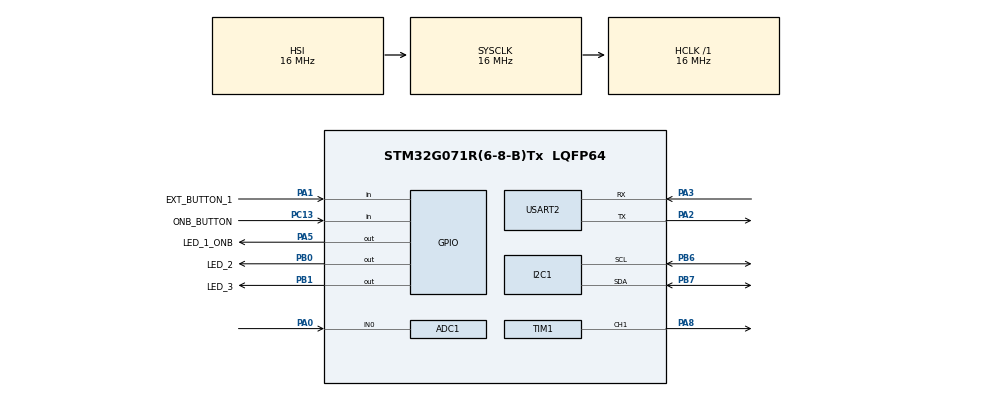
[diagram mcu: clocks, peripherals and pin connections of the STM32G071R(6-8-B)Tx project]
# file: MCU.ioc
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ADC1.Channel-0\#ChannelRegularConversion=ADC_CHANNEL_0
ADC1.NbrOfConversionFlag=1
ADC1.Rank-0\#ChannelRegularConversion=1
ADC1.SamplingTime-0\#ChannelRegularConversion=ADC_SAMPLINGTIME_COMMON_1
ADC1.SelectedChannel=ADC_CHANNEL_0
ADC1.master=1
I2C1.Timing=0x00503D58
Mcu.Family=STM32G0
Mcu.Name=STM32G071R(6-8-B)Tx
Mcu.Package=LQFP64
PA0.Mode=IN0
PA0.Signal=ADC1_IN0
PA1.GPIO_Label=EXT_BUTTON_1
PA1.GPIO_PuPd=GPIO_PULLDOWN
PA1.Signal=GPIO_Input
PA2.Mode=Asynchronous
PA2.Signal=USART2_TX
PA3.Mode=Asynchronous
PA3.Signal=USART2_RX
PA5.GPIO_Label=LED_1_ONB
PA5.Signal=GPIO_Output
PA8.Signal=S_TIM1_CH1
PB0.GPIO_Label=LED_2
PB0.Signal=GPIO_Output
PB1.GPIO_Label=LED_3
PB1.Signal=GPIO_Output
PB6.Mode=I2C
PB6.Signal=I2C1_SCL
PB7.Mode=I2C
PB7.Signal=I2C1_SDA
PC13.GPIO_Label=ONB_BUTTON
PC13.GPIO_PuPd=GPIO_PULLUP
PC13.Signal=GPIO_Input
ProjectManager.HeapSize=0x200
ProjectManager.StackSize=0x400
ProjectManager.TargetToolchain=STM32CubeIDE
RCC.AHBFreq_Value=16000000
RCC.CortexFreq_Value=16000000
RCC.EXTERNAL_CLOCK_VALUE=48000
RCC.HCLKFreq_Value=16000000
RCC.HSE_VALUE=8000000
RCC.HSI_VALUE=16000000
RCC.LSE_VALUE=32768
RCC.PLLQ=RCC_PLLQ_DIV4
RCC.SYSCLKFreq_VALUE=16000000
RCC.VCOOutputFreq_Value=128000000
SH.S_TIM1_CH1.0=TIM1_CH1,PWM Generation1 CH1
TIM1.Channel-PWM\ Generation1\ CH1=TIM_CHANNEL_1
USART2.VirtualMode-Asynchronous=VM_ASYNC
board=custom

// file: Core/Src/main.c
/* USER CODE BEGIN Header */
/**
  ******************************************************************************
  * @file           : main.c
  * @brief          : Main program body
  ******************************************************************************
  * @attention
  *
  * Copyright (c) 2025 STMicroelectronics.
  * All rights reserved.
  *
  * This software is licensed under terms that can be found in the LICENSE file
  * in the root directory of this software component.
  * If no LICENSE file comes with this software, it is provided AS-IS.
  *
  ******************************************************************************
  */
/* USER CODE END Header */
#include "main.h"

/* USER CODE BEGIN Includes */
#include "stdio.h" //used for printing to lcd
#include "string.h" //for working with strings
#include "i2c_lcd.h" //my lcd control library
/* USER CODE END Includes */

ADC_HandleTypeDef hadc1;

I2C_HandleTypeDef hi2c1;

TIM_HandleTypeDef htim1;

UART_HandleTypeDef huart2;

/* USER CODE BEGIN PV */
I2C_LCD_HandleTypeDef lcd1; 		//bring in LCD handler
/* USER CODE END PV */

void SystemClock_Config(void);
static void MX_GPIO_Init(void);
static void MX_ADC1_Init(void);
static void MX_I2C1_Init(void);
static void MX_USART2_UART_Init(void);
static void MX_TIM1_Init(void);

/* USER CODE BEGIN 0 */

//=====STATE DEFINITIONS=====
typedef enum {
	STATE_A,
	STATE_B,
	STATE_C
} SystemState_t;

SystemState_t currentState = STATE_A;

//=====PIN DEFINITIONS===== (for hardware clarity/file sharing)
#define ADC_PORT GPIOA
#define ADC_PIN GPIO_PIN_0				//PA0
#define EXT_BUTTON_1_PORT GPIOA
#define EXT_BUTTON_1_PIN GPIO_PIN_1 	//PA1
#define ONB_BUTTON_PORT GPIOC
#define ONB_BUTTON_PIN GPIO_PIN_13		//PC13
#define LED_1_PORT GPIOA				//on-board LED
#define LED_1_PIN GPIO_PIN_5			//PA5
#define LED_2_PORT GPIOB
#define LED_2_PIN GPIO_PIN_0			//PB0
#define LED_3_PORT GPIOB
#define LED_3_PIN GPIO_PIN_1			//PB1
#define SERVO_TIM_CHANNEL TIM_CHANNEL_1
#define SERVO_TIM_HANDLE htim1
#define SERVO_PORT GPIOA
#define SERVO_PIN GPIO_PIN_8			//PA8
#define UART_TX_PORT GPIOA
#define UART_TX_PIN GPIO_PIN_2			//PA2
#define UART_RX_PORT GPIOA
#define UART_RX_PIN GPIO_PIN_3			//PA3
#define I2C_SDA_PORT GPIOB
#define I2C_SDA_PIN GPIO_PIN_7			//PB7
#define I2C_SCL_PORT GPIOB
#define I2C_SCL_PIN GPIO_PIN_6			//PB6

//=====UART DEFINITIONS=====
char uart_message[100]; 				//storage of messages
uint8_t transmit_uart = 1; 				//flag for UART transmission
uint32_t last_uart_transmit_time = 0; 	//last transmitted UART message
#define UART_TRANSMIT_INTERVAL 500

//=====ADC DEFINITIONS=====
uint32_t adc_value = 0; 				//storage of adc value

//=====LED DEFINITIONS=====
uint8_t led_select = 0; 				//switching between external LED 2 or 3
uint32_t led1_blink_period = 500; 		//flashing period for on-board led

//=====DEBOUNCE DEFINITIONS=====
uint32_t last_button1_press_time = 0;	//timer for button 1 presses
uint32_t last_button2_press_time = 0;	//timer for button 2 presses
uint8_t button1_pressed = 0;
uint8_t button2_pressed = 0;
#define DEBOUNCE_DELAY 100				//delay for debouncing

//=====STUDENT ID=====
char student_id[9] = "24784821";		//defined student id

/* //=====BUTTON DEBOUNCE FUNCTION=====
uint8_t debounceButton(GPIO_TypeDef *port, uint16_t pin, uint32_t *last_press_time, uint8_t active_high) { //will take port and pin information when i call the function in the loop
    uint8_t current_state = HAL_GPIO_ReadPin(port, pin); //store button state
    uint32_t current_time = HAL_GetTick();//store current time in ms
    uint8_t debounced_state = 0;

    // Determine if the current state matches the active state
    uint8_t is_active = (active_high && (current_state == GPIO_PIN_SET)) || (!active_high && (current_state == GPIO_PIN_RESET)); //depending on pull up or down (will cover both)

    if (is_active) { //button currently in the active state
        if (current_time - *last_press_time >= DEBOUNCE_DELAY) {
            HAL_Delay(DEBOUNCE_DELAY); //confirmation delay (may not need)
            if (is_active) {
                *last_press_time = current_time;		//update last pressed time
                debounced_state = 1; // Return 1 for a debounced active press
            }
        }
    }

    return debounced_state;
}
*/
//=====MAP FUNCTION=====		// Calculates input range, calculates output range, then uses linear interpolation formula - taken from arduino source code
int map(int x, int in_min, int in_max, int out_min, int out_max) {
    return (x - in_min) * (out_max - out_min) / (in_max - in_min) + out_min;
}

//=====LCD PRINT INT FUNCTION=====
void lcd_print_int(int num){
	char holdme[16]; //storing string version of integer
	sprintf(holdme, "%d", num); //conversion of integer to string
	lcd_puts(&lcd1, holdme);			//send to LCD
}

//=====SET SERVO PULSE FUNCTION=====
void setServoPulse(uint16_t pulse) {
	TIM_OC_InitTypeDef sConfigOC = {0};
	sConfigOC.OCMode = TIM_OCMODE_PWM1;
	sConfigOC.Pulse = pulse;
	sConfigOC.OCPolarity = TIM_OCPOLARITY_HIGH;
	sConfigOC.OCFastMode = TIM_OCFAST_DISABLE;

	 HAL_TIM_PWM_ConfigChannel(&SERVO_TIM_HANDLE, &sConfigOC, SERVO_TIM_CHANNEL);
	 HAL_TIM_PWM_Start(&SERVO_TIM_HANDLE, SERVO_TIM_CHANNEL);
}

//=====STATE A ACTIONS=====
void stateA_actions(void) {

	//LCD CONTROL
	lcd_clear(&lcd1);							//clear lcd screen
	lcd_gotoxy(&lcd1, 0, 0);					//position cursor in top left
	lcd_puts(&lcd1, "SID:");					//print 'SID'
	lcd_puts(&lcd1, student_id);				//print my student ID number
	lcd_gotoxy(&lcd1, 0, 1);					//position cursor to second line
	lcd_puts(&lcd1, "MECHATRONICS 1");			//print string to second line

	//UART CONTROL
	static uint32_t last_uart_transmit = 0; //timer starts from 0
	if (transmit_uart && (HAL_GetTick() - last_uart_transmit >= UART_TRANSMIT_INTERVAL)){ //if there is a transmission flag and the time interval for transmissions has passed, then
		sprintf(uart_message, "Autumn2025 MX1 SID: %s, ADC Reading: %lu", student_id, adc_value); //print message to monitor, inserting student_id and adc_value into the string
		HAL_UART_Transmit(&huart2, (uint8_t *)uart_message, strlen(uart_message), HAL_MAX_DELAY); //using STM32HAL functions to transmit UART. Converts uart_message into an integer that can be transmitted over UART.
		last_uart_transmit = HAL_GetTick(); //update last transmit time
	}

	//UART KEYBOARD TOGGLE
	uint8_t received_char;												//variable to store character received
	if (HAL_UART_Receive(&huart2, &received_char, 1, 0) == HAL_OK) {	//if statement checks if the UART successfully received a character
		if (received_char == 's') {										//if it is successful, and the character matches, then toggle the UART transmissions
			transmit_uart = !transmit_uart;
		}
	}

}

//=====STATE B ACTIONS=====
void stateB_actions(void) {
	//LCD CONTROL FOR ADC VALUES
	lcd_clear(&lcd1);					//clear lcd
	lcd_gotoxy(&lcd1, 0, 0);			//position cursor top left
	lcd_puts(&lcd1, "ADC:");				//print ADC
	lcd_print_int(adc_value);		//print the ADC value as an integer
	lcd_puts(&lcd1, " STATE B");
	lcd_gotoxy(&lcd1, 0, 1);			//next line
	lcd_puts(&lcd1, "MECHATRONICS 1");

	//UART CONTROL
	transmit_uart = 0; 				//disable UART communication

	//ONBOARD LED CONTROL WITH POT
	static uint32_t last_led1_blink = 0; //period since last blink
	uint32_t led1_blink_period;			 //storage for variable blink timing
	static uint8_t led1_state = 0;				 //state of LED (off or on)

	led1_blink_period = map(adc_value, 0, 4095, 200, 1000); //linear interpolation of ADC values to led blink period, 5Hz -> 1Hz

	if (HAL_GetTick() - last_led1_blink >= led1_blink_period) { //checks if enough time has passed between blinks
		led1_state = !led1_state; 								//toggle LED
		HAL_GPIO_WritePin(LED_1_PORT, LED_1_PIN, led1_state ? GPIO_PIN_SET : GPIO_PIN_RESET); //Control of actual LED output. Takes port and pin info from definitions above
		last_led1_blink = HAL_GetTick(); //update blink time
	}

	//EXTERNAL LED CONTROL
	static uint32_t last_led2_3_blink = 0; //variable to control timing for both LEDs
	static uint8_t led2_state = 0;				   //state of LED2 (on or off)
	static uint8_t led3_state = 0;				   //state of LED3 (on or off)

	if (button1_pressed) { 			//checks for valid debounced button press
		led_select = !led_select;	//toggle between LEDs when button 1 pressed
	}

	if (HAL_GetTick() - last_led2_3_blink >= 500) { //1Hz blinking 500on 500off
        last_led2_3_blink = HAL_GetTick(); 			//update blink time
        if (led_select == 0) {						//checks which LED is selected and toggles state
        	led2_state = !led2_state;
        	HAL_GPIO_WritePin(LED_2_PORT, LED_2_PIN, led2_state ? GPIO_PIN_SET : GPIO_PIN_RESET); //actual output of LED2, will toggle either off or on
        } else {
        	led3_state = !led3_state;
        	HAL_GPIO_WritePin(LED_3_PORT, LED_3_PIN, led3_state ? GPIO_PIN_SET : GPIO_PIN_RESET); //same thing for LED3
        }
	}

	//SERVO CONTROL FROM POT
	uint16_t servo_pulse_width = map(adc_value, 0, 4095, 1000, 2000); //map adc values to servo PWM
	setServoPulse(servo_pulse_width); //write to the servo

}
//=====STATE C ACTIONS=====
void stateC_actions(void) {

	//check everything disabled
	transmit_uart = 0;

}

/* USER CODE END 0 */

int main(void)
{

  /* MCU Configuration--------------------------------------------------------*/

  /* Reset of all peripherals, Initializes the Flash interface and the Systick. */
  HAL_Init();

  /* Configure the system clock */
  SystemClock_Config();

  /* Initialize all configured peripherals */
  MX_GPIO_Init();
  MX_ADC1_Init();
  MX_I2C1_Init();
  MX_USART2_UART_Init();
  MX_TIM1_Init();
  /* USER CODE BEGIN 2 */

  HAL_ADC_Start(&hadc1);					//begin adc conversion

  lcd1.hi2c = &hi2c1;
  lcd1.address = 0x4E; //lcd address

  lcd_init(&lcd1); //initialise LCD

  /* USER CODE END 2 */

  /* Infinite loop */
  /* USER CODE BEGIN WHILE */
  while (1)
	  {
	  	 /* uint8_t button2_pressed = debounceButton(EXT_BUTTON_1_PORT, EXT_BUTTON_1_PIN, &last_button2_press_time, 1);
	  	  uint8_t button1_pressed = debounceButton(ONB_BUTTON_PORT, ONB_BUTTON_PIN, &last_button1_press_time, 1);
	  	  HAL_Delay (5);
	  	 */
		  // ===== Direct Button Read with Active High Interpretation =====
		  uint8_t button1_pressed = !HAL_GPIO_ReadPin(ONB_BUTTON_PORT, ONB_BUTTON_PIN);
		  uint8_t button2_pressed = HAL_GPIO_ReadPin(EXT_BUTTON_1_PORT, EXT_BUTTON_1_PIN);

		  // ===== ADC Control (Keep this) =====
		  if (HAL_ADC_GetState(&hadc1) == HAL_ADC_STATE_REG_EOC) {
			  adc_value = HAL_ADC_GetValue(&hadc1);
			  HAL_ADC_Start(&hadc1);
		  }

		  // ===== Updating State =====
		  SystemState_t previousState = currentState; // Store the previous state

		  if (button2_pressed) {
			  if (currentState == STATE_A || currentState == STATE_C){
				  currentState = STATE_B;
			  }	else if (currentState == STATE_B) {
				  currentState = STATE_A;
			  }
		  }

		  if (currentState == STATE_A && button1_pressed) {
			  currentState = STATE_C;
		  }

		  // ===== FUNCTION CONTROL DEPENDING ON STATE (Update LCD only on state change) =====
		  if (currentState != previousState) {
			  switch (currentState) {
				  case STATE_A:
					  stateA_actions();
					  break;
				  case STATE_B:
					  stateB_actions();
					  break;
				  case STATE_C:
					  stateC_actions();
					  break;
			  }
		  }

		  HAL_Delay(10); // stability
	  }

    /* USER CODE END WHILE */

  	  }

void SystemClock_Config(void)
{
  RCC_OscInitTypeDef RCC_OscInitStruct = {0};
  RCC_ClkInitTypeDef RCC_ClkInitStruct = {0};

  /** Configure the main internal regulator output voltage
  */
  HAL_PWREx_ControlVoltageScaling(PWR_REGULATOR_VOLTAGE_SCALE1);

  /** Initializes the RCC Oscillators according to the specified parameters
  * in the RCC_OscInitTypeDef structure.
  */
  RCC_OscInitStruct.OscillatorType = RCC_OSCILLATORTYPE_HSI;
  RCC_OscInitStruct.HSIState = RCC_HSI_ON;
  RCC_OscInitStruct.HSIDiv = RCC_HSI_DIV1;
  RCC_OscInitStruct.HSICalibrationValue = RCC_HSICALIBRATION_DEFAULT;
  RCC_OscInitStruct.PLL.PLLState = RCC_PLL_NONE;
  if (HAL_RCC_OscConfig(&RCC_OscInitStruct) != HAL_OK)
  {
    Error_Handler();
  }

  /** Initializes the CPU, AHB and APB buses clocks
  */
  RCC_ClkInitStruct.ClockType = RCC_CLOCKTYPE_HCLK|RCC_CLOCKTYPE_SYSCLK
                              |RCC_CLOCKTYPE_PCLK1;
  RCC_ClkInitStruct.SYSCLKSource = RCC_SYSCLKSOURCE_HSI;
  RCC_ClkInitStruct.AHBCLKDivider = RCC_SYSCLK_DIV1;
  RCC_ClkInitStruct.APB1CLKDivider = RCC_HCLK_DIV1;

  if (HAL_RCC_ClockConfig(&RCC_ClkInitStruct, FLASH_LATENCY_0) != HAL_OK)
  {
    Error_Handler();
  }
}

static void MX_ADC1_Init(void)
{

  ADC_ChannelConfTypeDef sConfig = {0};

  /** Configure the global features of the ADC (Clock, Resolution, Data Alignment and number of conversion)
  */
  hadc1.Instance = ADC1;
  hadc1.Init.ClockPrescaler = ADC_CLOCK_SYNC_PCLK_DIV2;
  hadc1.Init.Resolution = ADC_RESOLUTION_12B;
  hadc1.Init.DataAlign = ADC_DATAALIGN_RIGHT;
  hadc1.Init.ScanConvMode = ADC_SCAN_DISABLE;
  hadc1.Init.EOCSelection = ADC_EOC_SINGLE_CONV;
  hadc1.Init.LowPowerAutoWait = DISABLE;
  hadc1.Init.LowPowerAutoPowerOff = DISABLE;
  hadc1.Init.ContinuousConvMode = DISABLE;
  hadc1.Init.NbrOfConversion = 1;
  hadc1.Init.DiscontinuousConvMode = DISABLE;
  hadc1.Init.ExternalTrigConv = ADC_SOFTWARE_START;
  hadc1.Init.ExternalTrigConvEdge = ADC_EXTERNALTRIGCONVEDGE_NONE;
  hadc1.Init.DMAContinuousRequests = DISABLE;
  hadc1.Init.Overrun = ADC_OVR_DATA_PRESERVED;
  hadc1.Init.SamplingTimeCommon1 = ADC_SAMPLETIME_1CYCLE_5;
  hadc1.Init.SamplingTimeCommon2 = ADC_SAMPLETIME_1CYCLE_5;
  hadc1.Init.OversamplingMode = DISABLE;
  hadc1.Init.TriggerFrequencyMode = ADC_TRIGGER_FREQ_HIGH;
  if (HAL_ADC_Init(&hadc1) != HAL_OK)
  {
    Error_Handler();
  }

  /** Configure Regular Channel
  */
  sConfig.Channel = ADC_CHANNEL_0;
  sConfig.Rank = ADC_REGULAR_RANK_1;
  sConfig.SamplingTime = ADC_SAMPLINGTIME_COMMON_1;
  if (HAL_ADC_ConfigChannel(&hadc1, &sConfig) != HAL_OK)
  {
    Error_Handler();
  }

}

static void MX_I2C1_Init(void)
{

  hi2c1.Instance = I2C1;
  hi2c1.Init.Timing = 0x00503D58;
  hi2c1.Init.OwnAddress1 = 0;
  hi2c1.Init.AddressingMode = I2C_ADDRESSINGMODE_7BIT;
  hi2c1.Init.DualAddressMode = I2C_DUALADDRESS_DISABLE;
  hi2c1.Init.OwnAddress2 = 0;
  hi2c1.Init.OwnAddress2Masks = I2C_OA2_NOMASK;
  hi2c1.Init.GeneralCallMode = I2C_GENERALCALL_DISABLE;
  hi2c1.Init.NoStretchMode = I2C_NOSTRETCH_DISABLE;
  if (HAL_I2C_Init(&hi2c1) != HAL_OK)
  {
    Error_Handler();
  }

  /** Configure Analogue filter
  */
  if (HAL_I2CEx_ConfigAnalogFilter(&hi2c1, I2C_ANALOGFILTER_ENABLE) != HAL_OK)
  {
    Error_Handler();
  }

  /** Configure Digital filter
  */
  if (HAL_I2CEx_ConfigDigitalFilter(&hi2c1, 0) != HAL_OK)
  {
    Error_Handler();
  }

}

static void MX_TIM1_Init(void)
{

  TIM_MasterConfigTypeDef sMasterConfig = {0};
  TIM_OC_InitTypeDef sConfigOC = {0};
  TIM_BreakDeadTimeConfigTypeDef sBreakDeadTimeConfig = {0};

  htim1.Instance = TIM1;
  htim1.Init.Prescaler = 0;
  htim1.Init.CounterMode = TIM_COUNTERMODE_UP;
  htim1.Init.Period = 65535;
  htim1.Init.ClockDivision = TIM_CLOCKDIVISION_DIV1;
  htim1.Init.RepetitionCounter = 0;
  htim1.Init.AutoReloadPreload = TIM_AUTORELOAD_PRELOAD_DISABLE;
  if (HAL_TIM_PWM_Init(&htim1) != HAL_OK)
  {
    Error_Handler();
  }
  sMasterConfig.MasterOutputTrigger = TIM_TRGO_RESET;
  sMasterConfig.MasterOutputTrigger2 = TIM_TRGO2_RESET;
  sMasterConfig.MasterSlaveMode = TIM_MASTERSLAVEMODE_DISABLE;
  if (HAL_TIMEx_MasterConfigSynchronization(&htim1, &sMasterConfig) != HAL_OK)
  {
    Error_Handler();
  }
  sConfigOC.OCMode = TIM_OCMODE_PWM1;
  sConfigOC.Pulse = 0;
  sConfigOC.OCPolarity = TIM_OCPOLARITY_HIGH;
  sConfigOC.OCNPolarity = TIM_OCNPOLARITY_HIGH;
  sConfigOC.OCFastMode = TIM_OCFAST_DISABLE;
  sConfigOC.OCIdleState = TIM_OCIDLESTATE_RESET;
  sConfigOC.OCNIdleState = TIM_OCNIDLESTATE_RESET;
  if (HAL_TIM_PWM_ConfigChannel(&htim1, &sConfigOC, TIM_CHANNEL_1) != HAL_OK)
  {
    Error_Handler();
  }
  sBreakDeadTimeConfig.OffStateRunMode = TIM_OSSR_DISABLE;
  sBreakDeadTimeConfig.OffStateIDLEMode = TIM_OSSI_DISABLE;
  sBreakDeadTimeConfig.LockLevel = TIM_LOCKLEVEL_OFF;
  sBreakDeadTimeConfig.DeadTime = 0;
  sBreakDeadTimeConfig.BreakState = TIM_BREAK_DISABLE;
  sBreakDeadTimeConfig.BreakPolarity = TIM_BREAKPOLARITY_HIGH;
  sBreakDeadTimeConfig.BreakFilter = 0;
  sBreakDeadTimeConfig.BreakAFMode = TIM_BREAK_AFMODE_INPUT;
  sBreakDeadTimeConfig.Break2State = TIM_BREAK2_DISABLE;
  sBreakDeadTimeConfig.Break2Polarity = TIM_BREAK2POLARITY_HIGH;
  sBreakDeadTimeConfig.Break2Filter = 0;
  sBreakDeadTimeConfig.Break2AFMode = TIM_BREAK_AFMODE_INPUT;
  sBreakDeadTimeConfig.AutomaticOutput = TIM_AUTOMATICOUTPUT_DISABLE;
  if (HAL_TIMEx_ConfigBreakDeadTime(&htim1, &sBreakDeadTimeConfig) != HAL_OK)
  {
    Error_Handler();
  }
  HAL_TIM_MspPostInit(&htim1);

}

static void MX_USART2_UART_Init(void)
{

  huart2.Instance = USART2;
  huart2.Init.BaudRate = 115200;
  huart2.Init.WordLength = UART_WORDLENGTH_8B;
  huart2.Init.StopBits = UART_STOPBITS_1;
  huart2.Init.Parity = UART_PARITY_NONE;
  huart2.Init.Mode = UART_MODE_TX_RX;
  huart2.Init.HwFlowCtl = UART_HWCONTROL_NONE;
  huart2.Init.OverSampling = UART_OVERSAMPLING_16;
  huart2.Init.OneBitSampling = UART_ONE_BIT_SAMPLE_DISABLE;
  huart2.Init.ClockPrescaler = UART_PRESCALER_DIV1;
  huart2.AdvancedInit.AdvFeatureInit = UART_ADVFEATURE_NO_INIT;
  if (HAL_UART_Init(&huart2) != HAL_OK)
  {
    Error_Handler();
  }
  if (HAL_UARTEx_SetTxFifoThreshold(&huart2, UART_TXFIFO_THRESHOLD_1_8) != HAL_OK)
  {
    Error_Handler();
  }
  if (HAL_UARTEx_SetRxFifoThreshold(&huart2, UART_RXFIFO_THRESHOLD_1_8) != HAL_OK)
  {
    Error_Handler();
  }
  if (HAL_UARTEx_DisableFifoMode(&huart2) != HAL_OK)
  {
    Error_Handler();
  }

}

static void MX_GPIO_Init(void)
{
  GPIO_InitTypeDef GPIO_InitStruct = {0};

  /* GPIO Ports Clock Enable */
  __HAL_RCC_GPIOC_CLK_ENABLE();
  __HAL_RCC_GPIOA_CLK_ENABLE();
  __HAL_RCC_GPIOB_CLK_ENABLE();

  /*Configure GPIO pin Output Level */
  HAL_GPIO_WritePin(LED_1_ONB_GPIO_Port, LED_1_ONB_Pin, GPIO_PIN_RESET);

  /*Configure GPIO pin Output Level */
  HAL_GPIO_WritePin(GPIOB, LED_2_Pin|LED_3_Pin, GPIO_PIN_RESET);

  /*Configure GPIO pin : ONB_BUTTON_Pin */
  GPIO_InitStruct.Pin = ONB_BUTTON_Pin;
  GPIO_InitStruct.Mode = GPIO_MODE_INPUT;
  GPIO_InitStruct.Pull = GPIO_PULLUP;
  HAL_GPIO_Init(ONB_BUTTON_GPIO_Port, &GPIO_InitStruct);

  /*Configure GPIO pin : EXT_BUTTON_1_Pin */
  GPIO_InitStruct.Pin = EXT_BUTTON_1_Pin;
  GPIO_InitStruct.Mode = GPIO_MODE_INPUT;
  GPIO_InitStruct.Pull = GPIO_PULLDOWN;
  HAL_GPIO_Init(EXT_BUTTON_1_GPIO_Port, &GPIO_InitStruct);

  /*Configure GPIO pin : LED_1_ONB_Pin */
  GPIO_InitStruct.Pin = LED_1_ONB_Pin;
  GPIO_InitStruct.Mode = GPIO_MODE_OUTPUT_PP;
  GPIO_InitStruct.Pull = GPIO_NOPULL;
  GPIO_InitStruct.Speed = GPIO_SPEED_FREQ_LOW;
  HAL_GPIO_Init(LED_1_ONB_GPIO_Port, &GPIO_InitStruct);

  /*Configure GPIO pins : LED_2_Pin LED_3_Pin */
  GPIO_InitStruct.Pin = LED_2_Pin|LED_3_Pin;
  GPIO_InitStruct.Mode = GPIO_MODE_OUTPUT_PP;
  GPIO_InitStruct.Pull = GPIO_NOPULL;
  GPIO_InitStruct.Speed = GPIO_SPEED_FREQ_LOW;
  HAL_GPIO_Init(GPIOB, &GPIO_InitStruct);

}

void Error_Handler(void)
{
  __disable_irq();
  while (1)
  {
  }
}
